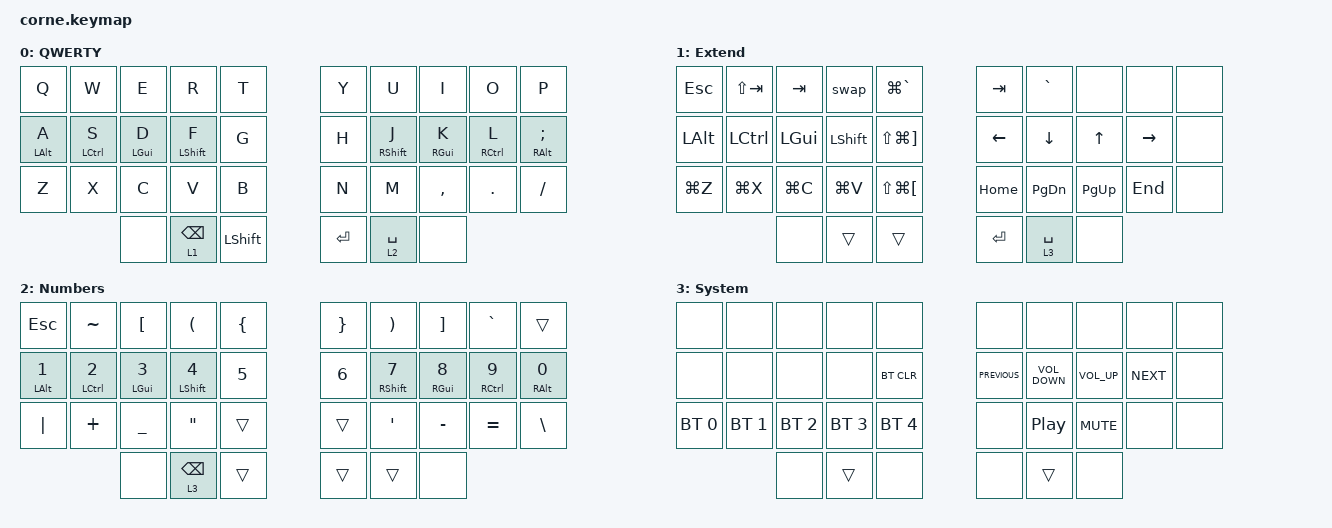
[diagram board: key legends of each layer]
#include <behaviors.dtsi>
#include <dt-bindings/zmk/bt.h>
#include <dt-bindings/zmk/keys.h>

/*                              36 key matrix / layout mapping

  ╭────────────────────┬────────────────────╮ ╭─────────────────────┬─────────────────────╮
  │  0   1   2   3   4 │  5   6   7   8   9 │ │ lt4 lt3 lt2 lt1 lt0 │ rt0 rt1 rt2 rt3 rt4 │
  │ 10  11  12  13  14 │ 15  16  17  18  19 │ │ lm4 lm3 lm2 lm1 lm0 │ rm0 rm1 rm2 rm3 rm4 │
  │ 20  21  22  23  24 │ 25  26  27  28  29 │ │ lb4 lb3 lb2 lb1 lb0 │ rb0 rb1 rb2 rb3 rb4 │
  ╰───────╮ 30  31  32 │ 33  34  35 ╭───────╯ ╰───────╮ lh2 lh1 lh0 │ rh0 rh1 rh2 ╭───────╯
          ╰────────────┴────────────╯                 ╰─────────────┴─────────────╯             */
// dt-formatter: indent = "  "
// dt-formatter: multilineIntegerCellsIndent = "reindent"
// dt-formatter: multilineListCommaStyle = "leading"

&lt {
  flavor = "balanced";
  quick-tap-ms = <175>;
  tapping-term-ms = <200>;
};

/ {
  chosen { zmk,matrix_transform = &five_column_transform; };

  combos {
    compatible = "zmk,combos";

    combo_esc {
      bindings = <&kp ESC>;
      key-positions = <0 1>;
    };
  };

  behaviors {
    hml: homewrow_mods_left {
      compatible = "zmk,behavior-hold-tap";
      #binding-cells = <2>;
      bindings = <&kp>, <&kp>;

      tapping-term-ms = <250>;
      flavor = "balanced";
      quick-tap-ms = <175>;
      hold-trigger-on-release;
      hold-trigger-key-positions = <32 31 30 33 34 35 25 15 5 6 7 8 9 19 18 17 16 26 27 28 29>;
    };

    hmr: homewrow_mods_right {
      compatible = "zmk,behavior-hold-tap";
      #binding-cells = <2>;
      bindings = <&kp>, <&kp>;

      tapping-term-ms = <250>;
      quick-tap-ms = <175>;
      flavor = "balanced";
      hold-trigger-on-release;
      hold-trigger-key-positions = <0 1 2 3 4 10 11 12 13 14 20 21 22 23 24 30 31 32 33 34 35>;
    };

    swap: swapper {
      compatible = "zmk,behavior-tri-state";
      #binding-cells = <0>;
      bindings = <&kt LGUI>, <&kp TAB>, <&kt LGUI>;

      ignored-key-positions = <1>;
    };
  };

  keymap {
    compatible = "zmk,keymap";

    QWERTY {
      bindings = <
        &kp Q        &kp W         &kp E        &kp R            &kp T        &kp Y    &kp U         &kp I        &kp O         &kp P
        &hml LALT A  &hml LCTRL S  &hml LGUI D  &hml LSHFT F     &kp G        &kp H    &hmr RSHFT J  &hmr RGUI K  &hmr RCTRL L  &hmr RALT SEMI
        &kp Z        &kp X         &kp C        &kp V            &kp B        &kp N    &kp M         &kp COMMA    &kp DOT       &kp FSLH
                                   &none        &lt 1 BACKSPACE  &kp LSHFT    &kp RET  &lt 2 SPACE   &none
      >;
    };

    Extend {
      bindings = <
        &kp ESCAPE  &kp LS(TAB)  &kp TAB    &swap      &kp LG(GRAVE)                &kp TAB   &kp GRAVE      &none        &none      &none
        &kp LALT    &kp LCTRL    &kp LGUI   &kp LSHFT  &kp LS(LG(RIGHT_BRACKET))    &kp LEFT  &kp DOWN       &kp UP       &kp RIGHT  &none
        &kp LG(Z)   &kp LG(X)    &kp LG(C)  &kp LG(V)  &kp LS(LG(LEFT_BRACKET))     &kp HOME  &kp PAGE_DOWN  &kp PAGE_UP  &kp END    &none
                                 &none      &trans     &trans                       &kp RET   &lt 3 SPACE    &none
      >;
    };

    Numbers {
      bindings = <
        &kp ESC       &kp TILDE      &kp LEFT_BRACKET  &kp LPAR         &kp LEFT_BRACE    &kp RIGHT_BRACE  &kp RPAR       &kp RIGHT_BRACKET  &kp GRAVE      &trans
        &hml LALT N1  &hml LCTRL N2  &hml LGUI N3      &hml LSHFT N4    &kp N5            &kp N6           &hmr RSHFT N7  &hmr RGUI N8       &hmr RCTRL N9  &hmr RALT N0
        &kp PIPE      &kp PLUS       &kp UNDERSCORE    &kp DQT          &trans            &trans           &kp SQT        &kp MINUS          &kp EQUAL      &kp BACKSLASH
                                     &none             &lt 3 BACKSPACE  &trans            &trans           &trans         &none
      >;
    };

    System {
      bindings = <
        &none         &none         &none         &none         &none           &none           &none              &none            &none       &none
        &none         &none         &none         &none         &bt BT_CLR      &kp C_PREVIOUS  &kp C_VOLUME_DOWN  &kp C_VOLUME_UP  &kp C_NEXT  &none
        &bt BT_SEL 0  &bt BT_SEL 1  &bt BT_SEL 2  &bt BT_SEL 3  &bt BT_SEL 4    &none           &kp C_PLAY_PAUSE   &kp K_MUTE       &none       &none
                                    &none         &trans        &none           &none           &trans             &none
      >;
    };
  };
};
